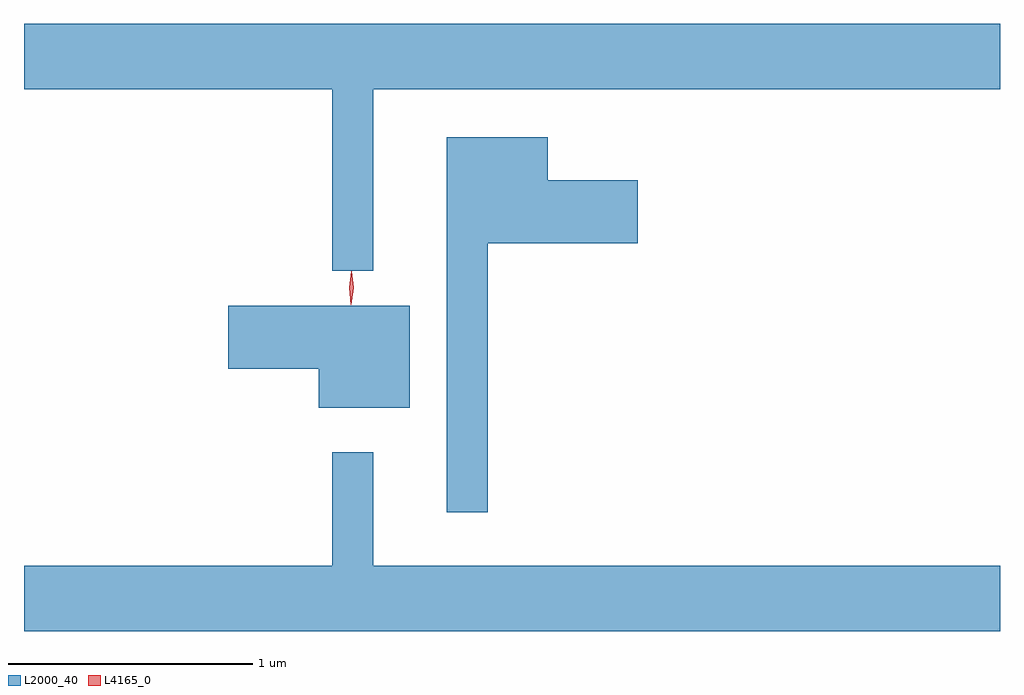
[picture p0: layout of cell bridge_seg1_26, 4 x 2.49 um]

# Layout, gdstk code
import gdstk
lib = gdstk.Library(unit=1e-6, precision=1e-09)
def P(c, l, *ps):  # polygons
    for p in ps: c.add(gdstk.Polygon(p, *l))
L2000_40 = (2000, 40)
L4165_0 = (4165, 0)

bridge_seg1_26 = lib.new_cell('bridge_seg1_26')
P(bridge_seg1_26, L2000_40, [(1620.779,844.076),(1623.348,844.076),(1623.348,844.344),(1619.348,844.344),(1619.348,844.076),(1620.611,844.076),(1620.611,843.333),(1620.779,843.333)],
  [(1621.249,843.446),(1621.864,843.446),(1621.864,843.704),(1621.494,843.704),(1621.494,843.879),(1621.081,843.879),(1621.081,842.343),(1621.249,842.343)],
  [(1620.929,843.189),(1620.186,843.189),(1620.186,842.931),(1620.556,842.931),(1620.556,842.771),(1620.929,842.771)],
  [(1623.348,842.124),(1620.779,842.124),(1620.779,842.588),(1620.611,842.588),(1620.611,842.124),(1619.348,842.124),(1619.348,841.856),(1623.348,841.856)])
P(bridge_seg1_26, L4165_0, [(1620.689,843.2),(1620.688,843.201),(1620.68,843.264),(1620.69,843.326),(1620.69,843.327),(1620.691,843.326),(1620.699,843.263),(1620.689,843.201)],
  [(1620.688,843.194),(1620.68,843.262),(1620.69,843.33),(1620.69,843.33),(1620.691,843.33),(1620.699,843.262),(1620.689,843.194),(1620.689,843.194)])

lib.write_gds('bridge_seg1_26.gds')
